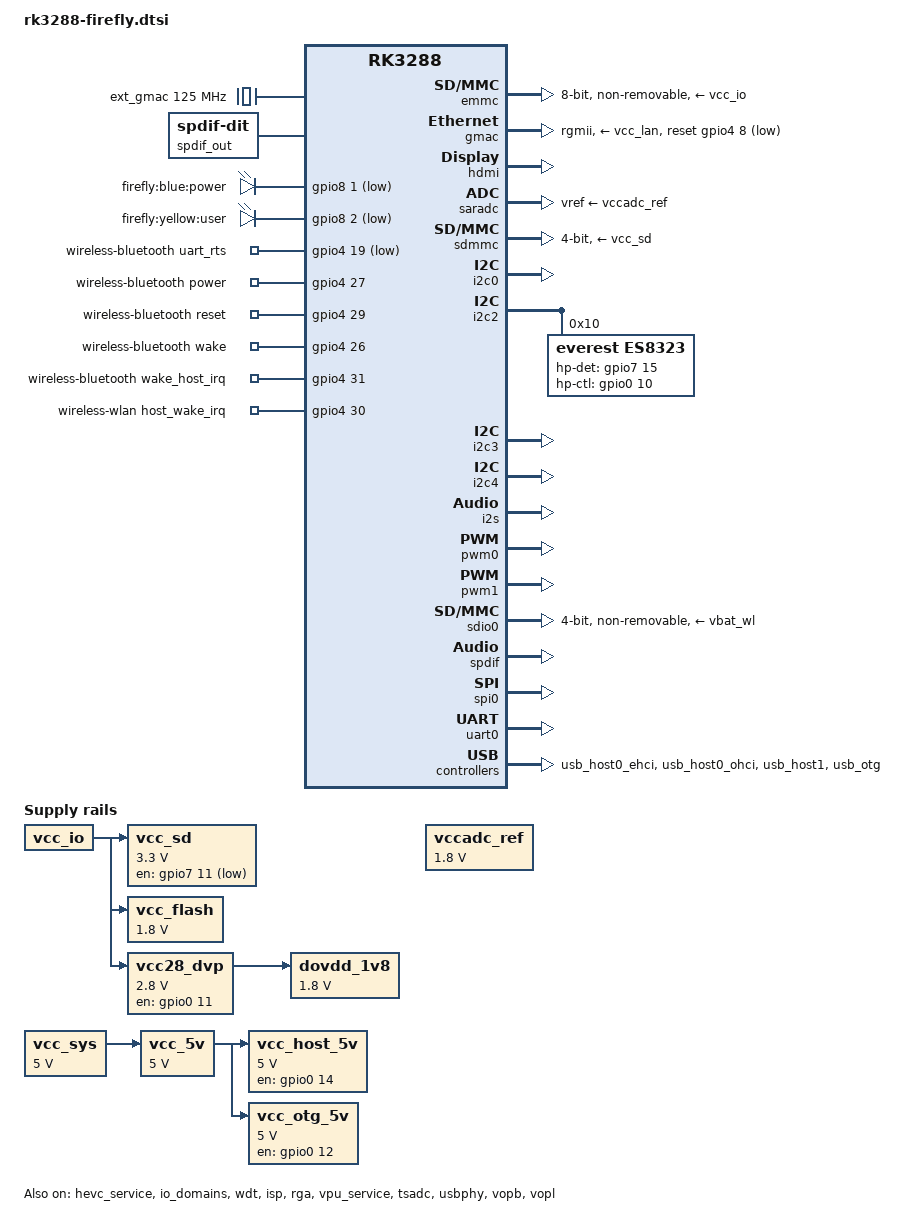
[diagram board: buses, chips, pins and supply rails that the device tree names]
/*
 * Copyright (c) 2015~2017 Zhongshan Firefly Electronics Co., Ltd
 *
 * This file is dual-licensed: you can use it either under the terms
 * of the GPL or the X11 license, at your option. Note that this dual
 * licensing only applies to this file, and not this project as a
 * whole.
 *
 *  a) This file is free software; you can redistribute it and/or
 *     modify it under the terms of the GNU General Public License as
 *     published by the Free Software Foundation; either version 2 of the
 *     License, or (at your option) any later version.
 *
 *     This file is distributed in the hope that it will be useful,
 *     but WITHOUT ANY WARRANTY; without even the implied warranty of
 *     MERCHANTABILITY or FITNESS FOR A PARTICULAR PURPOSE.  See the
 *     GNU General Public License for more details.
 *
 * Or, alternatively,
 *
 *  b) Permission is hereby granted, free of charge, to any person
 *     obtaining a copy of this software and associated documentation
 *     files (the "Software"), to deal in the Software without
 *     restriction, including without limitation the rights to use,
 *     copy, modify, merge, publish, distribute, sublicense, and/or
 *     sell copies of the Software, and to permit persons to whom the
 *     Software is furnished to do so, subject to the following
 *     conditions:
 *
 *     The above copyright notice and this permission notice shall be
 *     included in all copies or substantial portions of the Software.
 *
 *     THE SOFTWARE IS PROVIDED "AS IS", WITHOUT WARRANTY OF ANY KIND,
 *     EXPRESS OR IMPLIED, INCLUDING BUT NOT LIMITED TO THE WARRANTIES
 *     OF MERCHANTABILITY, FITNESS FOR A PARTICULAR PURPOSE AND
 *     NONINFRINGEMENT. IN NO EVENT SHALL THE AUTHORS OR COPYRIGHT
 *     HOLDERS BE LIABLE FOR ANY CLAIM, DAMAGES OR OTHER LIABILITY,
 *     WHETHER IN AN ACTION OF CONTRACT, TORT OR OTHERWISE, ARISING
 *     FROM, OUT OF OR IN CONNECTION WITH THE SOFTWARE OR THE USE OR
 *     OTHER DEALINGS IN THE SOFTWARE.
 */

#include <dt-bindings/pwm/pwm.h>
#include <dt-bindings/input/input.h>
#include <dt-bindings/display/media-bus-format.h>
#include "rk3288.dtsi"

/ {
	edp_panel: edp-panel {
		status = "disabled";

		ports {
			panel_in_edp: endpoint {
				remote-endpoint = <&edp_out_panel>;
			};
		};
	};

	lvds_panel: lvds-panel {
		status = "disabled";

		ports {
			panel_in_lvds: endpoint {
				remote-endpoint = <&lvds_out_panel>;
			};
		};
	};

	ext_gmac: external-gmac-clock {
		compatible = "fixed-clock";
		#clock-cells = <0>;
		clock-frequency = <125000000>;
		clock-output-names = "ext_gmac";
	};

	vccadc_ref: vccadc-ref {
		compatible = "regulator-fixed";
		regulator-name = "vcc1v8_sys";
		regulator-always-on;
		regulator-boot-on;
		regulator-min-microvolt = <1800000>;
		regulator-max-microvolt = <1800000>;
	};

	vcc_sd: sdmmc-regulator {
		compatible = "regulator-fixed";
		gpio = <&gpio7 11 GPIO_ACTIVE_LOW>;
		pinctrl-names = "default";
		pinctrl-0 = <&sdmmc_pwr>;
		regulator-name = "vcc_sd";
		regulator-min-microvolt = <3300000>;
		regulator-max-microvolt = <3300000>;
		startup-delay-us = <100000>;
		vin-supply = <&vcc_io>;
	};

	vcc_sys: vbat_wl: vsys-regulator {
		compatible = "regulator-fixed";
		regulator-name = "vcc_sys";
		regulator-min-microvolt = <5000000>;
		regulator-max-microvolt = <5000000>;
		regulator-always-on;
		regulator-boot-on;
	};

	vcc_flash: flash-regulator {
		compatible = "regulator-fixed";
		regulator-name = "vcc_flash";
		regulator-min-microvolt = <1800000>;
		regulator-max-microvolt = <1800000>;
		vin-supply = <&vcc_io>;
	};

	vcc_5v: usb-regulator {
		compatible = "regulator-fixed";
		regulator-name = "vcc_5v";
		regulator-min-microvolt = <5000000>;
		regulator-max-microvolt = <5000000>;
		regulator-always-on;
		regulator-boot-on;
		vin-supply = <&vcc_sys>;
	};

	vcc_host_5v: usb-host-regulator {
		compatible = "regulator-fixed";
		enable-active-high;
		gpio = <&gpio0 14 GPIO_ACTIVE_HIGH>;
		pinctrl-names = "default";
		pinctrl-0 = <&host_vbus_drv>;
		regulator-name = "vcc_host_5v";
		regulator-min-microvolt = <5000000>;
		regulator-max-microvolt = <5000000>;
		regulator-always-on;
		vin-supply = <&vcc_5v>;
	};

	vcc_otg_5v: usb-otg-regulator {
		compatible = "regulator-fixed";
		enable-active-high;
		gpio = <&gpio0 12 GPIO_ACTIVE_HIGH>;
		pinctrl-names = "default";
		pinctrl-0 = <&otg_vbus_drv>;
		regulator-name = "vcc_otg_5v";
		regulator-min-microvolt = <5000000>;
		regulator-max-microvolt = <5000000>;
		regulator-always-on;
		vin-supply = <&vcc_5v>;
	};

	/*
	 * A TT8142 creates both dovdd_1v8 and vcc28_dvp, controlled
	 * by the dvp_pwr pin.
	 */
	vcc28_dvp: vcc28-dvp-regulator {
		compatible = "regulator-fixed";
		enable-active-high;
		gpio = <&gpio0 11 GPIO_ACTIVE_HIGH>;
		pinctrl-names = "default";
		pinctrl-0 = <&dvp_pwr>;
		regulator-name = "vcc28_dvp";
		regulator-min-microvolt = <2800000>;
		regulator-max-microvolt = <2800000>;
		regulator-always-on;
		vin-supply = <&vcc_io>;
	};

	dovdd_1v8: dovdd-1v8-regulator {
		compatible = "regulator-fixed";
		regulator-name = "dovdd_1v8";
		regulator-min-microvolt = <1800000>;
		regulator-max-microvolt = <1800000>;
		vin-supply = <&vcc28_dvp>;
	};

	spdif_out: spdif-out {
		compatible = "linux,spdif-dit";
		#sound-dai-cells = <0>;
	};

	ir: ir-receiver {
		compatible = "gpio-ir-receiver";
		pinctrl-names = "default";
		pinctrl-0 = <&ir_int>;
	};

	leds {
       compatible = "gpio-leds";

		work {
			label = "firefly:blue:power";
			linux,default-trigger = "ir-power-click";
			gpios = <&gpio8 1 GPIO_ACTIVE_LOW>;
			pinctrl-names = "default";
			pinctrl-0 = <&led_power>;
			default-state = "on";
		};

		user {
			label = "firefly:yellow:user";
			linux,default-trigger = "ir-user-click";
			gpios = <&gpio8 2 GPIO_ACTIVE_LOW>;
			pinctrl-names = "default";
			pinctrl-0 = <&led_user>;
			default-state = "off";
		};
	};

	es8323-sound {
		status = "okay";
        compatible = "simple-audio-card";
        simple-audio-card,format = "i2s";
        simple-audio-card,name = "rockchip,es8323-codec";
        simple-audio-card,mclk-fs = <256>;
		simple-audio-card,widgets =
				"Microphone","Mic Jack",
				"Headphone","Headphone Jack";
		simple-audio-card,routing =
				"Mic Jack","MICBIAS1",
				"IN1P","Mic Jack",
				"Headphone Jack","HPOL",
				"Headphone Jack","HPOR";
		simple-audio-card,cpu {
				sound-dai = <&i2s>;
		};
	
		simple-audio-card,codec {
				sound-dai = <&es8323>;
		};
	};

	spdif-sound {
		status = "okay";
		compatible = "simple-audio-card";
		simple-audio-card,name = "ROCKCHIP,SPDIF";
		simple-audio-card,cpu {
			sound-dai = <&spdif>;
		};

		simple-audio-card,codec {
			sound-dai = <&spdif_out>;
		};
	};

	wireless-bluetooth {
		compatible = "bluetooth-platdata";
		uart_rts_gpios = <&gpio4 19 GPIO_ACTIVE_LOW>;
		pinctrl-names = "default", "rts_gpio";
		pinctrl-0 = <&uart0_rts>;
		pinctrl-1 = <&uart0_gpios>;
		BT,power_gpio    = <&gpio4 27 GPIO_ACTIVE_HIGH>;
		BT,reset_gpio    = <&gpio4 29 GPIO_ACTIVE_HIGH>;
		BT,wake_gpio     = <&gpio4 26 GPIO_ACTIVE_HIGH>;
		BT,wake_host_irq = <&gpio4 31 GPIO_ACTIVE_HIGH>;
		status = "okay";
	};

	wireless-wlan {
		compatible = "wlan-platdata";
		rockchip,grf = <&grf>;
		wifi_chip_type = "ap6255";
		sdio_vref = <1800>;
		//WIFI,poweren_gpio = <&gpio4 28 GPIO_ACTIVE_HIGH>;
		WIFI,host_wake_irq = <&gpio4 30 GPIO_ACTIVE_HIGH>;
		status = "okay";
	};
};

&emmc {
	bus-width = <8>;
	cap-mmc-highspeed;
	disable-wp;
	non-removable;
	num-slots = <1>;
	pinctrl-names = "default";
	pinctrl-0 = <&emmc_clk &emmc_cmd &emmc_pwr &emmc_bus8>;
	max-frequency = <100000000>;
	mmc-hs200-1_8v;
	mmc-ddr-1_8v;
	vmmc-supply = <&vcc_io>;
	vqmmc-supply = <&vcc_flash>;
	status = "okay";
};

&gmac {
	phy-supply = <&vcc_lan>;
	assigned-clocks = <&cru SCLK_MAC>;
	assigned-clock-parents = <&ext_gmac>;
	phy-mode = "rgmii";
	clock_in_out = "input";
	pinctrl-0 = <&rgmii_pins &phy_rst &phy_pmeb &phy_int>;
	pinctrl-names = "default";
	snps,reset-active-low;
	snps,reset-delays-us = <0 10000 1000000>;
	snps,reset-gpio = <&gpio4 8 GPIO_ACTIVE_LOW>;
	tx_delay = <0x1d>;
	rx_delay = <0x16>;
	status = "ok";
};

&hdmi {
	#address-cells = <1>;
	#size-cells = <0>;
	#sound-dai-cells = <0>;
	status = "okay";
};

&saradc {
	vref-supply = <&vccadc_ref>;
	status = "okay";
};

&sdmmc {
	bus-width = <4>;
	cap-mmc-highspeed;
	sd-uhs-sdr12;
	sd-uhs-sdr25;
	sd-uhs-sdr50;
	sd-uhs-sdr104;
	cap-sd-highspeed;
	card-detect-delay = <200>;
	disable-wp;
	supports-sd;
	num-slots = <1>;
	pinctrl-names = "default";
	pinctrl-0 = <&sdmmc_clk &sdmmc_cmd &sdmmc_cd &sdmmc_bus4>;
	vmmc-supply = <&vcc_sd>;
	vqmmc-supply = <&vccio_sd>;
	status = "okay";
};

&edp_phy {
	status = "disabled";
};

&edp {
	force-hpd;
	status = "disabled";

	ports {
		edp_out: port@1 {
			reg = <1>;
			#address-cells = <1>;
			#size-cells = <0>;
			edp_out_panel: endpoint {
				reg = <0>;
				remote-endpoint = <&panel_in_edp>;
			};
		};
	};
};

&hevc_service {
	status = "okay";
};

&i2c0 {
	status = "okay";
};

&i2c2 {
	status = "okay";

	es8323: es8323@10 {
        status = "okay";
		compatible = "everest,es8323";
		reg = <0x10>;
		hp-det-gpio = <&gpio7 15 GPIO_ACTIVE_HIGH>;
		hp-ctl-gpio = <&gpio0 10 GPIO_ACTIVE_HIGH>;
		clock-names = "mclk";
		clocks = <&cru SCLK_I2S0_OUT>;
		#sound-dai-cells = <0>;
	};
};

&i2c3 {
	status = "okay";
};

&i2c4 {
	status = "okay";
};

&i2s {
	status = "okay";
	#sound-dai-cells = <0>;
};

&io_domains {
	status = "okay";

	audio-supply = <&vcca_33>;
	bb-supply = <&vcc_io>;
	dvp-supply = <&dovdd_1v8>;
	flash0-supply = <&vcc_flash>;
	flash1-supply = <&vcc_lan>;
	gpio30-supply = <&vcc_io>;
	gpio1830-supply = <&vcc_io>;
	lcdc-supply = <&vcc_io>;
	sdcard-supply = <&vccio_sd>;
	wifi-supply = <&vccio_wl>;
};

&wdt {
	status = "okay";
};

&pwm0 {
	interrupts = <GIC_SPI 78 IRQ_TYPE_LEVEL_HIGH>;
	compatible = "rockchip,remotectl-pwm";
	remote_pwm_id = <0>;
	handle_cpu_id = <1>;
	status = "okay";

	ir_key1 {
        rockchip,usercode = <0xff00>;
        rockchip,key_table =
            <0xeb   KEY_POWER>,
            <0xec   KEY_COMPOSE>,
            <0xfe   KEY_BACK>,
            <0xb7   KEY_HOME>,
            <0xa3   KEY_WWW>,
            <0xf4   KEY_VOLUMEUP>,
            <0xa7   KEY_VOLUMEDOWN>,
            <0xf8   KEY_ENTER>,
            <0xfc   KEY_UP>,
            <0xfd   KEY_DOWN>,
            <0xf1   KEY_LEFT>,
            <0xe5   KEY_RIGHT>;
    };
};

&pwm1 {
	status = "okay";
};

&isp {
	status = "okay";
};

&isp_mmu {
	status = "okay";
};

&rga {
	status = "okay";
};

&sdio0 {
	clock-frequency = <50000000>;
	clock-freq-min-max = <200000 50000000>;
	bus-width = <4>;
	cap-sd-highspeed;
	cap-sdio-irq;
	disable-wp;
	keep-power-in-suspend;
	mmc-pwrseq = <&sdio_pwrseq>;
	non-removable;
	num-slots = <1>;
	pinctrl-names = "default";
	pinctrl-0 = <&sdio0_bus4 &sdio0_cmd &sdio0_clk &sdio0_int>;
	sd-uhs-sdr104;
	supports-sdio;
	vmmc-supply = <&vbat_wl>;
	vqmmc-supply = <&vccio_wl>;
	status = "okay";
};

&spdif {
	status = "okay";
};

&spi0 {
	pinctrl-names = "default";
	pinctrl-0 = <&spi0_clk &spi0_cs0 &spi0_tx &spi0_rx &spi0_cs1>;
	status = "okay";
};

&uart0 {
	pinctrl-names = "default";
	pinctrl-0 = <&uart0_xfer>, <&uart0_cts>;
	status = "okay";
};

&uart2 {
	status = "disabled";
};

&vpu_service {
	status = "okay";
};

&tsadc {
	rockchip,hw-tshut-polarity = <0>; /* tshut polarity 0:LOW 1:HIGH */
	status = "okay";
};

&usbphy {
	status = "okay";
};

&usb_host0_ehci {
	rockchip-relinquish-port;
	status = "okay";
};

&usb_host0_ohci {
	status = "okay";
};

&usb_host1 {
	pinctrl-names = "default";
	pinctrl-0 = <&usbhub_rst>;
	status = "okay";
};

&usb_otg {
	status = "okay";
};

&lvds {
	status = "disabled";

	ports {
		lvds_out: port@1 {
			reg = <1>;
			#address-cells = <1>;
			#size-cells = <0>;

			lvds_out_panel: endpoint@0 {
				reg = <0>;
				remote-endpoint = <&panel_in_lvds>;
			};
		};
	};
};

&vopb {
	status = "okay";
};

&vopb_mmu {
	status = "okay";
};

&vopl {
	status = "okay";
};

&vopl_mmu {
	status = "okay";
};

&pinctrl {
	pcfg_output_high: pcfg-output-high {
		output-high;
	};

	pcfg_output_low: pcfg-output-low {
		output-low;
	};

	pcfg_pull_none_drv_8ma: pcfg-pull-none-drv-8ma {
		drive-strength = <8>;
	};

	pcfg_pull_up_drv_8ma: pcfg-pull-up-drv-8ma {
		bias-pull-up;
		drive-strength = <8>;
	};

	act8846 {
		pmic_vsel: pmic-vsel {
			rockchip,pins = <7 14 RK_FUNC_GPIO &pcfg_output_low>;
		};

		pwr_hold: pwr-hold {
			rockchip,pins = <0 6 RK_FUNC_GPIO &pcfg_output_high>;
		};
	};

	hym8563 {
		rtc_int: rtc-int {
			rockchip,pins = <7 4 RK_FUNC_GPIO &pcfg_pull_up>;
		};
	};

	sdio-pwrseq {
		wifi_enable_h: wifi-enable-h {
			rockchip,pins = <4 28 RK_FUNC_GPIO &pcfg_pull_none>;
		};
	};

	dvp {
		dvp_pwr: dvp-pwr {
			rockchip,pins = <0 11 RK_FUNC_GPIO &pcfg_pull_none>;
		};
	};

	gmac {
		phy_int: phy-int {
			rockchip,pins = <0 9 RK_FUNC_GPIO &pcfg_pull_up>;
		};

		phy_pmeb: phy-pmeb {
			rockchip,pins = <0 8 RK_FUNC_GPIO &pcfg_pull_up>;
		};

		phy_rst: phy-rst {
			rockchip,pins = <4 8 RK_FUNC_GPIO &pcfg_output_high>;
		};
	};

	ir {
		ir_int: ir-int {
			rockchip,pins = <7 0 RK_FUNC_GPIO &pcfg_pull_up>;
		};
	};

	leds {
		led_power: led-power {
			rockchip,pins = <8 1 RK_FUNC_GPIO &pcfg_pull_none>;
		};

		led_user: led-work {
			rockchip,pins = <8 2 RK_FUNC_GPIO &pcfg_pull_none>;
		};
	};

	sdmmc {
		/*
		 * Default drive strength isn't enough to achieve even
		 * high-speed mode on firefly board so bump up to 8ma.
		 */
		sdmmc_bus4: sdmmc-bus4 {
			rockchip,pins = <6 16 RK_FUNC_1 &pcfg_pull_up_drv_8ma>,
					<6 17 RK_FUNC_1 &pcfg_pull_up_drv_8ma>,
					<6 18 RK_FUNC_1 &pcfg_pull_up_drv_8ma>,
					<6 19 RK_FUNC_1 &pcfg_pull_up_drv_8ma>;
		};

		sdmmc_clk: sdmmc-clk {
			rockchip,pins = <6 20 RK_FUNC_1 &pcfg_pull_none_drv_8ma>;
		};

		sdmmc_cmd: sdmmc-cmd {
			rockchip,pins = <6 21 RK_FUNC_1 &pcfg_pull_up_drv_8ma>;
		};

		sdmmc_pwr: sdmmc-pwr {
			rockchip,pins = <7 11 RK_FUNC_GPIO &pcfg_pull_none>;
		};
	};

	usb_host {
		host_vbus_drv: host-vbus-drv {
			rockchip,pins = <0 14 RK_FUNC_GPIO &pcfg_pull_none>;
		};

		usbhub_rst: usbhub-rst {
			rockchip,pins = <8 3 RK_FUNC_GPIO &pcfg_output_high>;
		};
	};

	usb_otg {
		otg_vbus_drv: otg-vbus-drv {
			rockchip,pins = <0 12 RK_FUNC_GPIO &pcfg_pull_none>;
		};
	};

	wireless-bluetooth {
		uart0_gpios: uart0-gpios {
			rockchip,pins = <4 19 RK_FUNC_GPIO &pcfg_pull_none>;
		};
	};
};
